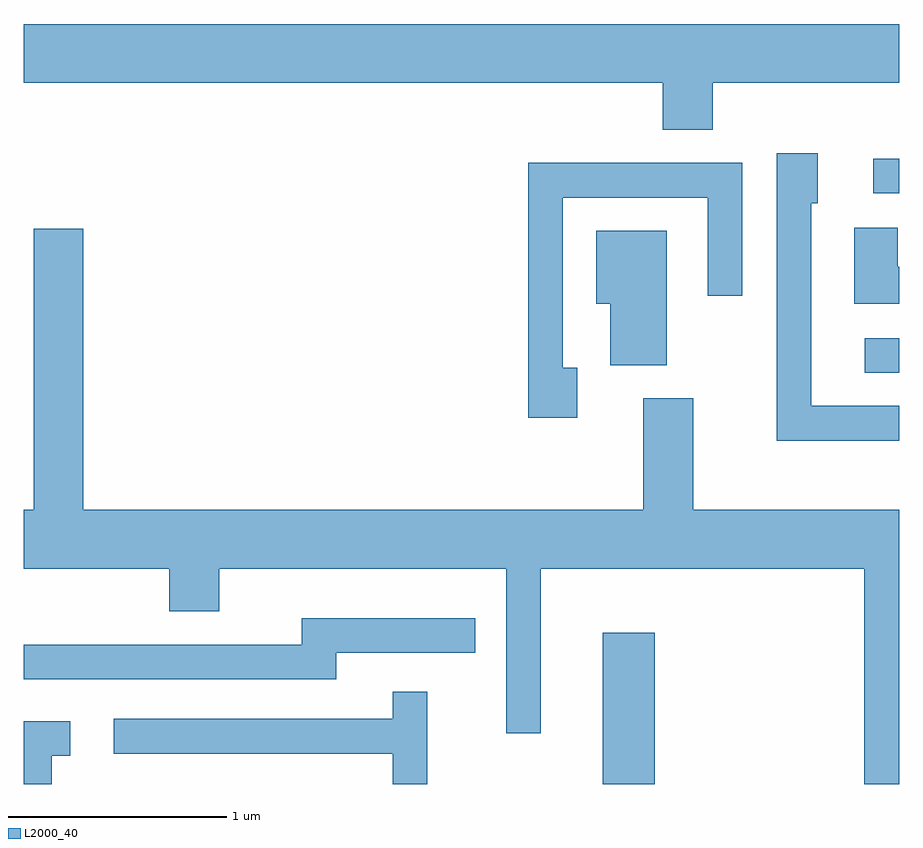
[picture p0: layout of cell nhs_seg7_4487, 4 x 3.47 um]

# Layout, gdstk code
import gdstk
lib = gdstk.Library(unit=1e-6, precision=1e-09)
def R(c, l, rs):  # rectangles x0, y0, x1, y1
    for r in rs: c.add(gdstk.rectangle(r[:2], r[2:], *l))
def P(c, l, *ps):  # polygons
    for p in ps: c.add(gdstk.Polygon(p, *l))
L2000_40 = (2000, 40)

nhs_seg7_4487 = lib.new_cell('nhs_seg7_4487')
R(nhs_seg7_4487, L2000_40, [(326.256,1682.252,326.494,1682.944), (327.453,1684.131,327.611,1684.289), (327.493,1684.951,327.611,1685.109)])
P(nhs_seg7_4487, L2000_40, [(326.759,1685.456),(327.611,1685.456),(327.611,1685.724),(323.611,1685.724),(323.611,1685.456),(326.531,1685.456),(326.531,1685.241),(326.759,1685.241)],
  [(327.611,1683.979),(327.209,1683.979),(327.209,1684.906),(327.239,1684.906),(327.239,1685.134),(327.051,1685.134),(327.051,1683.821),(327.611,1683.821)],
  [(326.139,1684.154),(326.074,1684.154),(326.074,1684.931),(326.736,1684.931),(326.736,1684.483),(326.894,1684.483),(326.894,1685.089),(325.916,1685.089),(325.916,1683.926),(326.139,1683.926)],
  [(327.611,1684.614),(327.604,1684.614),(327.604,1684.794),(327.406,1684.794),(327.406,1684.446),(327.611,1684.446)],
  [(327.611,1683.504),(326.669,1683.504),(326.669,1684.014),(326.441,1684.014),(326.441,1683.504),(323.884,1683.504),(323.884,1684.789),(323.656,1684.789),(323.656,1683.504),(323.611,1683.504),(323.611,1683.236),(324.276,1683.236),(324.276,1683.041),(324.504,1683.041),(324.504,1683.236),(325.816,1683.236),(325.816,1682.483),(325.974,1682.483),(325.974,1683.236),(327.451,1683.236),(327.451,1682.252),(327.611,1682.252)],
  [(326.549,1684.779),(326.226,1684.779),(326.226,1684.446),(326.291,1684.446),(326.291,1684.166),(326.549,1684.166)],
  [(325.039,1682.851),(325.673,1682.851),(325.673,1683.009),(324.881,1683.009),(324.881,1682.889),(323.611,1682.889),(323.611,1682.731),(325.039,1682.731)],
  [(325.454,1682.673),(325.296,1682.673),(325.296,1682.549),(324.023,1682.549),(324.023,1682.391),(325.296,1682.391),(325.296,1682.252),(325.454,1682.252)],
  [(323.739,1682.381),(323.823,1682.381),(323.823,1682.539),(323.611,1682.539),(323.611,1682.252),(323.739,1682.252)])

lib.write_gds('nhs_seg7_4487.gds')
